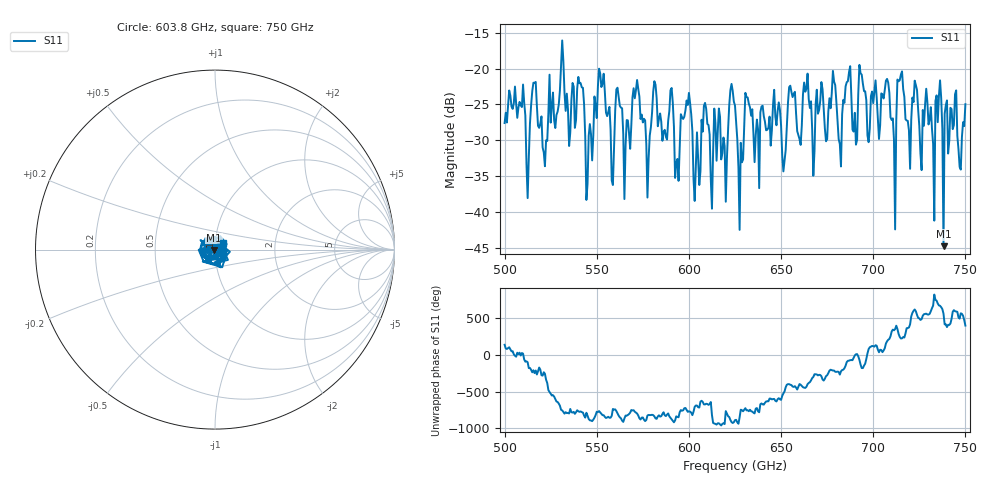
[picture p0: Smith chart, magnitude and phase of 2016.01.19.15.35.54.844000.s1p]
!Created with skrf (http://scikit-rf.org).
# GHz S RI R 50.0
!freq ReS11 ImS11
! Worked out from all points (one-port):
!   401 points, 500 GHz to 750 GHz, reference 50 ohm
!   lowest |S11| = -44.7 dB at 738.1 GHz (marker M1), VSWR 1.01, Z = 49.5 - j0.196 ohm
!   |S11| at or under -10 dB: start of sweep to end of sweep
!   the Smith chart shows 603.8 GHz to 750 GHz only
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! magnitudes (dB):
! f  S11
! 500 GHz  -27.6
! 512.5 GHz  -38.0
! 516.2 GHz  -22.0
! 521.9 GHz  -33.6
! 531.2 GHz  -16.1
! 541.2 GHz  -22.0
! 545 GHz  -36.0
! 552.5 GHz  -22.6
! 558.1 GHz  -35.6
! 562.5 GHz  -25.2
! 578.1 GHz  -32.6
! 590.6 GHz  -22.7
! 593.8 GHz  -32.6
! 599.4 GHz  -25.1
! 604.4 GHz  -28.9
! 625 GHz  -25.2
! 628.1 GHz  -30.3
! 631.9 GHz  -24.0
! 651.9 GHz  -32.8
! 656.2 GHz  -24.0
! 681.9 GHz  -30.5
! 687.5 GHz  -19.7
! 707.5 GHz  -21.4
! 711.2 GHz  -29.9
! 714.4 GHz  -21.6
! 718.8 GHz  -27.3
! 738.1 GHz  -44.7
! 750 GHz  -25.0
